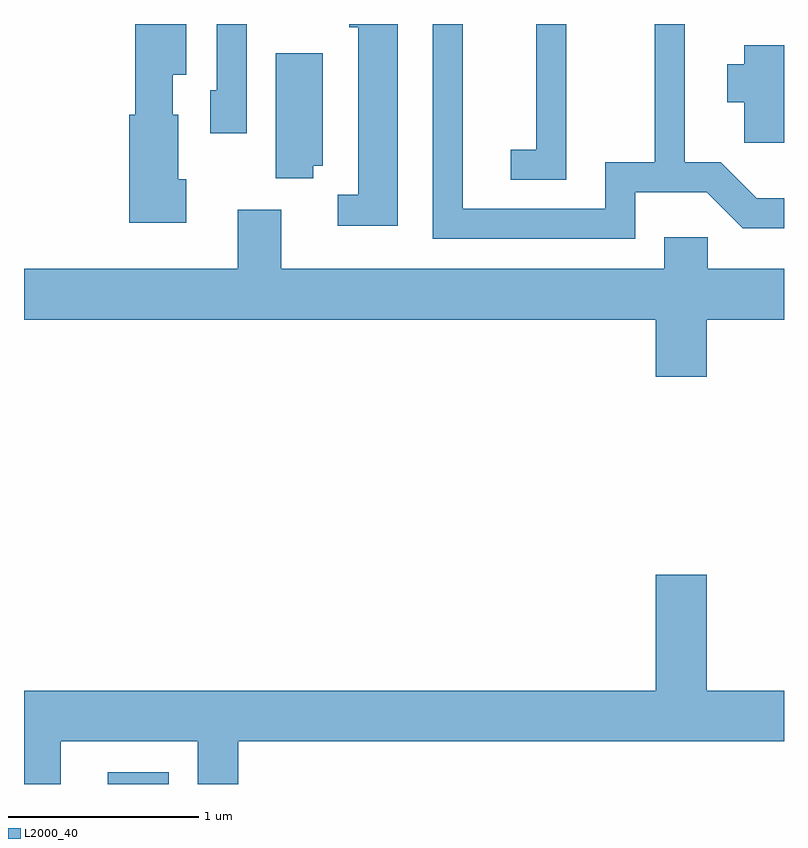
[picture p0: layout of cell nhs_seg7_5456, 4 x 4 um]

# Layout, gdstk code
import gdstk
lib = gdstk.Library(unit=1e-6, precision=1e-09)
def R(c, l, rs):  # rectangles x0, y0, x1, y1
    for r in rs: c.add(gdstk.rectangle(r[:2], r[2:], *l))
def P(c, l, *ps):  # polygons
    for p in ps: c.add(gdstk.Polygon(p, *l))
L2000_40 = (2000, 40)

nhs_seg7_5456 = lib.new_cell('nhs_seg7_5456')
R(nhs_seg7_5456, L2000_40, [(352.051,1776.252,352.374,1776.314)])
P(nhs_seg7_5456, L2000_40, [(354.829,1779.366),(355.204,1779.366),(355.394,1779.176),(355.611,1779.176),(355.611,1779.334),(355.467,1779.334),(355.277,1779.524),(355.089,1779.524),(355.089,1780.252),(354.931,1780.252),(354.931,1779.524),(354.671,1779.524),(354.671,1779.279),(353.919,1779.279),(353.919,1780.252),(353.761,1780.252),(353.761,1779.121),(354.829,1779.121)],
  [(352.784,1780.252),(352.626,1780.252),(352.626,1779.904),(352.591,1779.904),(352.591,1779.676),(352.784,1779.676)],
  [(354.464,1780.252),(354.306,1780.252),(354.306,1779.589),(354.173,1779.589),(354.173,1779.431),(354.464,1779.431)],
  [(352.464,1779.434),(352.424,1779.434),(352.424,1779.774),(352.394,1779.774),(352.394,1779.986),(352.464,1779.986),(352.464,1780.252),(352.196,1780.252),(352.196,1779.774),(352.166,1779.774),(352.166,1779.206),(352.464,1779.206)],
  [(353.579,1780.252),(353.323,1780.252),(353.323,1780.236),(353.371,1780.236),(353.371,1779.354),(353.263,1779.354),(353.263,1779.191),(353.579,1779.191)],
  [(355.611,1780.139),(355.401,1780.139),(355.401,1780.039),(355.311,1780.039),(355.311,1779.841),(355.401,1779.841),(355.401,1779.626),(355.611,1779.626)],
  [(353.134,1779.506),(353.184,1779.506),(353.184,1780.099),(352.936,1780.099),(352.936,1779.441),(353.134,1779.441)],
  [(355.204,1778.696),(355.611,1778.696),(355.611,1778.964),(355.209,1778.964),(355.209,1779.129),(354.981,1779.129),(354.981,1778.964),(352.964,1778.964),(352.964,1779.274),(352.736,1779.274),(352.736,1778.964),(351.611,1778.964),(351.611,1778.696),(354.936,1778.696),(354.936,1778.396),(355.204,1778.396)],
  [(351.804,1776.476),(352.526,1776.476),(352.526,1776.252),(352.739,1776.252),(352.739,1776.476),(355.611,1776.476),(355.611,1776.744),(355.204,1776.744),(355.204,1777.354),(354.936,1777.354),(354.936,1776.744),(351.611,1776.744),(351.611,1776.252),(351.804,1776.252)])

lib.write_gds('nhs_seg7_5456.gds')
